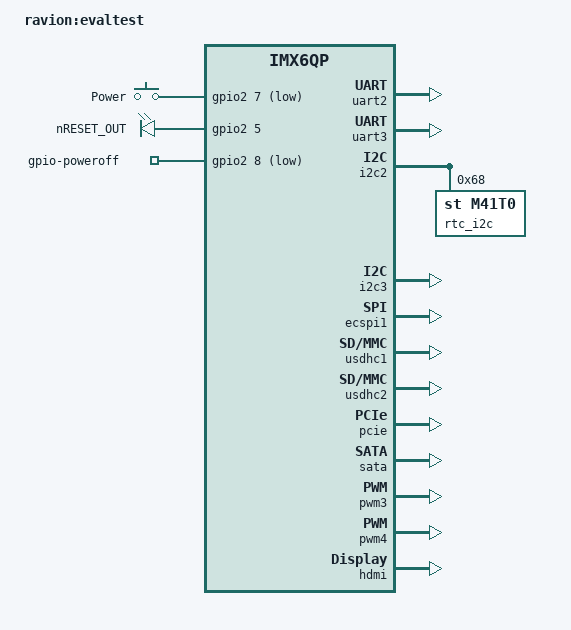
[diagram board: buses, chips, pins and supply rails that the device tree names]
/*
 * Copyright 2018 Radioavionica Corp.
 *
 * Author: Alex A. Mihaylov <minimumlaw@rambler.ru>
 *
 * This program is free software; you can redistribute it and/or modify
 * it under the terms of the GNU General Public License version 2 as
 * published by the Free Software Foundation.
 *
 */
/dts-v1/;
#include "imx6qp.dtsi"

#include "imx6qdl-ravion-v2.dtsi"

/ {
	model = "ravion:evaltest";
	compatible = "ravion,imx6qp", "fsl,imx6qp";

	gpio-keys {
		compatible = "gpio-keys";

		power {
			label = "Power";
			gpios = <&gpio2 7 GPIO_ACTIVE_LOW>;	/* soDimm 125 */
			linux,code = <KEY_POWER>;
			debounce-interval = <100>;
			wakeup-source;
		};
	};

	gpio-leds {
		compatible = "gpio-leds";

		reset_out {
			label = "nRESET_OUT";
			gpios = <&gpio2 5 GPIO_ACTIVE_HIGH>;	/* soDimm 121 */
			default-state = "on";
		};
	};

	gpio-poweroff {
		compatible = "gpio-poweroff";
		gpios = <&gpio2 8 GPIO_ACTIVE_LOW>;		/* soDimm 127 */
	};
};


/*
 * Serial ports
 */
/* &uart1 {	status = "okay";	}; => Allways enabled */
&uart2 {	status = "okay";	};
&uart3 {	status = "okay";	};

/*
 * I2C Busses
 */
/* &i2c1 {	status = "okay";	}; => Allways enabled */

&i2c2 {	/* Compatible I2C: soDimm 194, 196 */
	status = "okay";

	/* M41T0M6 real time clock on carrier board */
	rtc_i2c: rtc@68 {
		compatible = "st,m41t0";
		reg = <0x68>;
	};
};

&i2c3 { /* Extended I2C: soDimm 128, 130 */
	status = "okay";
};

/*
 * SPI Bus
 */
&ecspi1 {	status = "okay";	};


/*
 * SD/MMC and eMMC controllers
 */
&usdhc1 {	status = "okay";	}; /* compatible */
&usdhc2 {	status = "okay";	}; /* externed */
/* &usdhc3 {	status = "okay";	}; => eMMC allways enabled */

/*
 * Ethernet controller
 */
/* &fec {	status = "okay";	}; => eth0 allways enabled */

/*
 * Audio (digital part)
 */
/* &audmux {	status = "okay";	}; => Allways enabled */
/* &ssi1 {	status = "okay";	}; => Allways enabled */

/*
 * High-speed serial bus
 */
&pcie	{	status = "okay";	};
&sata	{	status = "okay";	};
/* &usbh1  {	status = "okay";	}; => Allways enabled */
/* &usbotg`{	status = "okay";	}; => Allways enabled */

/*
 * PWMs
 */
&pwm3	{	status = "okay";	};
&pwm4	{	status = "okay";	};

/*
 * Video subsystems
 */
&hdmi	{	status = "okay";	};
